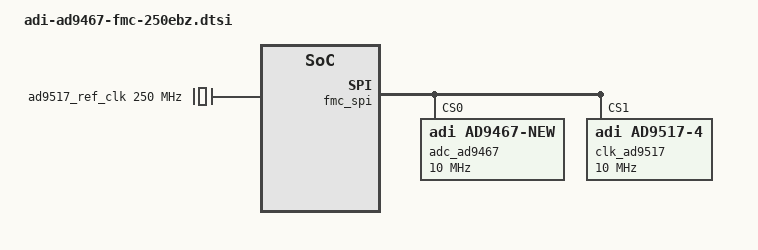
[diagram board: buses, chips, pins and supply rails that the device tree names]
/ {
	clocks {
		ad9517_ref_clk: clock@0 {
				compatible = "fixed-clock";

				clock-frequency = <250000000>;
				clock-output-names = "ad9517_refclk";
				#clock-cells = <0>;
		};
	};
};

&fmc_spi {
	adc_ad9467: ad9467@0 {
		compatible = "adi,ad9467-new";
		reg = <0>;

		dmas = <&rx_dma 0>;
		dma-names = "rx";

		spi-max-frequency = <10000000>;
		adi,spi-3wire-enable;

		clocks = <&clk_ad9517 3>;
		clock-names = "adc-clk";

		converters = <&cf_ad9467_core_0>;
	};

	clk_ad9517: ad9517@1 {
		compatible = "adi,ad9517-4";
		reg = <1>;

		spi-max-frequency = <10000000>;
		adi,spi-3wire-enable;

		clocks = <&ad9517_ref_clk>, <&ad9517_ref_clk>;
		clock-names = "refclk", "clkin";

		clock-output-names = "out0", "out1", "out2", "out3", "out4", "out5", "out6", "out7";
		#clock-cells = <1>;

		firmware = "ad9467_intbypass_ad9517.stp";
	};
};
